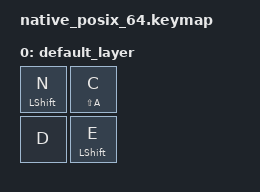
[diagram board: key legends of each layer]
#include <dt-bindings/zmk/keys.h>
#include <behaviors.dtsi>
#include <dt-bindings/zmk/kscan_mock.h>

/ {
    behaviors {
        lht_special: behavior_linger_hold_tap_special {
            compatible = "zmk,behavior-hold-tap";
            #binding-cells = <2>;
            flavor = "tap-preferred";
            tapping-term-ms = <200>;
            linger-ms = <150>;
            bindings = <&kp>, <&kp>;
        };
    };

    keymap {
        compatible = "zmk,keymap";
        default_layer {
            bindings = <
                &lht_special LSHIFT N &lht_special LS(A) C
                &kp D &mt LSHIFT E
            >;
        };
    };
};

&kscan {
    events = <
        ZMK_MOCK_PRESS(0, 0, 250)
        ZMK_MOCK_RELEASE(0, 0, 50)
        ZMK_MOCK_PRESS(1, 0, 10)
        ZMK_MOCK_RELEASE(1, 0, 10)
        ZMK_MOCK_PRESS(0, 1, 250)
        ZMK_MOCK_RELEASE(0, 1, 50)
        ZMK_MOCK_PRESS(1, 0, 10)
        ZMK_MOCK_RELEASE(1, 0, 10)
    >;
};
